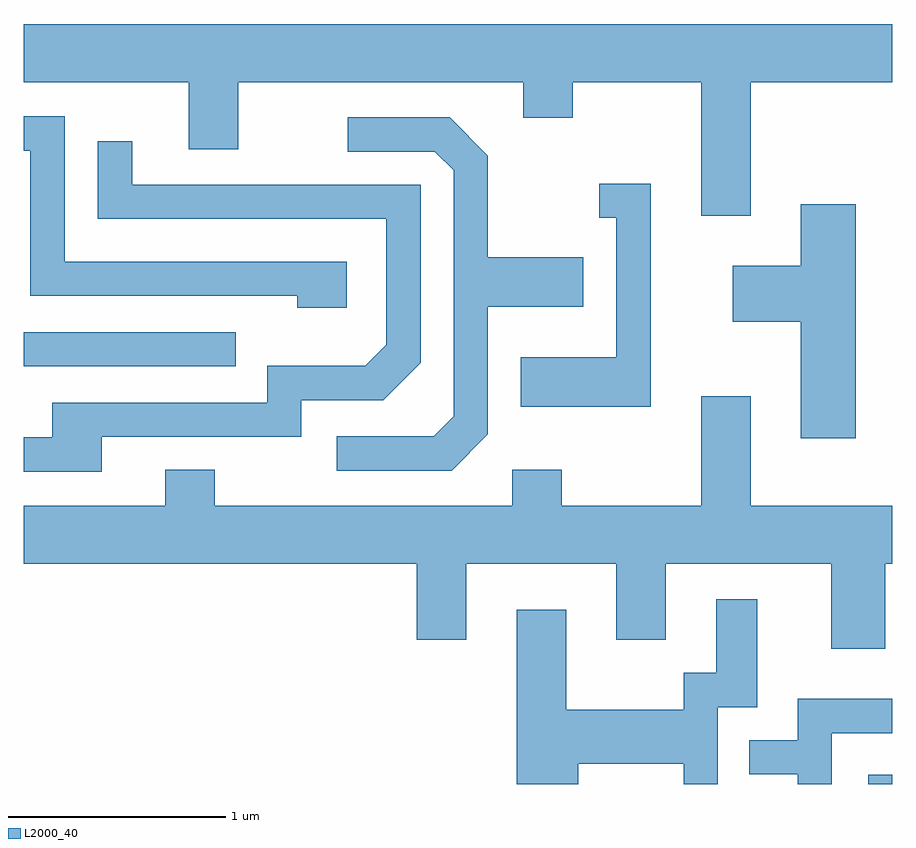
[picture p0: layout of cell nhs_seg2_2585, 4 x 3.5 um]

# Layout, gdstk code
import gdstk
lib = gdstk.Library(unit=1e-6, precision=1e-09)
def R(c, l, rs):  # rectangles x0, y0, x1, y1
    for r in rs: c.add(gdstk.rectangle(r[:2], r[2:], *l))
def P(c, l, *ps):  # polygons
    for p in ps: c.add(gdstk.Polygon(p, *l))
L2000_40 = (2000, 40)

nhs_seg2_2585 = lib.new_cell('nhs_seg2_2585')
R(nhs_seg2_2585, L2000_40, [(265.501,991.802,265.611,991.844), (261.611,993.726,262.588,993.884)])
P(nhs_seg2_2585, L2000_40, [(261.611,995.036),(262.371,995.036),(262.371,994.726),(262.599,994.726),(262.599,995.036),(263.911,995.036),(263.911,994.871),(264.139,994.871),(264.139,995.036),(264.731,995.036),(264.731,994.421),(264.959,994.421),(264.959,995.036),(265.611,995.036),(265.611,995.304),(261.611,995.304)],
  [(263.099,994.209),(261.799,994.209),(261.799,994.879),(261.611,994.879),(261.611,994.721),(261.641,994.721),(261.641,994.051),(262.871,994.051),(262.871,993.996),(263.099,993.996)],
  [(263.749,993.414),(263.749,994.001),(264.189,994.001),(264.189,994.229),(263.749,994.229),(263.749,994.697),(263.572,994.874),(263.103,994.874),(263.103,994.716),(263.504,994.716),(263.591,994.629),(263.591,993.497),(263.499,993.404),(263.053,993.404),(263.053,993.246),(263.582,993.246)],
  [(261.969,993.401),(262.889,993.401),(262.889,993.571),(263.267,993.571),(263.439,993.744),(263.439,994.564),(262.109,994.564),(262.109,994.763),(261.951,994.763),(261.951,994.406),(263.281,994.406),(263.281,993.827),(263.184,993.729),(262.731,993.729),(262.731,993.559),(261.741,993.559),(261.741,993.399),(261.611,993.399),(261.611,993.241),(261.969,993.241)],
  [(264.499,994.569),(264.263,994.569),(264.263,994.411),(264.341,994.411),(264.341,993.769),(263.901,993.769),(263.901,993.541),(264.499,993.541)],
  [(265.444,994.474),(265.191,994.474),(265.191,994.189),(264.876,994.189),(264.876,993.931),(265.191,993.931),(265.191,993.396),(265.444,993.396)],
  [(265.579,992.816),(265.611,992.816),(265.611,993.084),(264.959,993.084),(264.959,993.589),(264.731,993.589),(264.731,993.084),(264.089,993.084),(264.089,993.249),(263.861,993.249),(263.861,993.084),(262.489,993.084),(262.489,993.249),(262.261,993.249),(262.261,993.084),(261.611,993.084),(261.611,992.816),(263.421,992.816),(263.421,992.466),(263.649,992.466),(263.649,992.816),(264.341,992.816),(264.341,992.466),(264.569,992.466),(264.569,992.816),(265.331,992.816),(265.331,992.426),(265.579,992.426)],
  [(264.164,991.896),(264.651,991.896),(264.651,991.802),(264.809,991.802),(264.809,992.156),(264.989,992.156),(264.989,992.654),(264.801,992.654),(264.801,992.314),(264.651,992.314),(264.651,992.144),(264.109,992.144),(264.109,992.604),(263.881,992.604),(263.881,991.802),(264.164,991.802)],
  [(265.334,992.036),(265.611,992.036),(265.611,992.194),(265.176,992.194),(265.176,992.004),(264.953,992.004),(264.953,991.846),(265.176,991.846),(265.176,991.802),(265.334,991.802)])

lib.write_gds('nhs_seg2_2585.gds')
